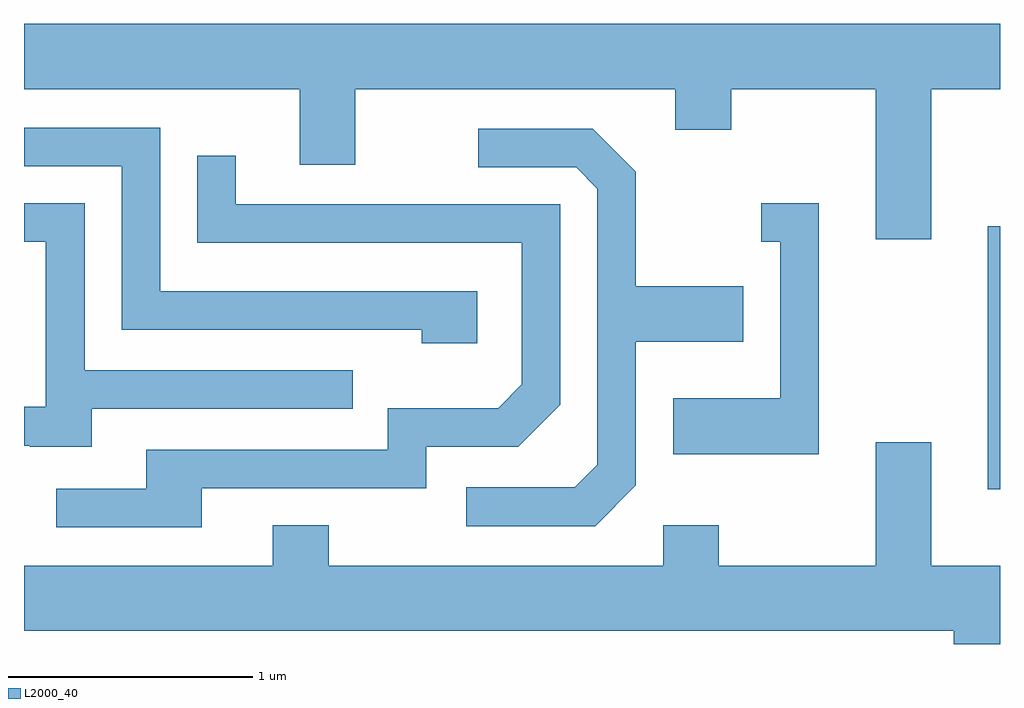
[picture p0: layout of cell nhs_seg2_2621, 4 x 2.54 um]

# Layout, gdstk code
import gdstk
lib = gdstk.Library(unit=1e-6, precision=1e-09)
def R(c, l, rs):  # rectangles x0, y0, x1, y1
    for r in rs: c.add(gdstk.rectangle(r[:2], r[2:], *l))
def P(c, l, *ps):  # polygons
    for p in ps: c.add(gdstk.Polygon(p, *l))
L2000_40 = (2000, 40)

nhs_seg2_2621 = lib.new_cell('nhs_seg2_2621')
R(nhs_seg2_2621, L2000_40, [(265.561,1064.436,265.611,1065.514)])
P(nhs_seg2_2621, L2000_40, [(265.329,1066.076),(265.611,1066.076),(265.611,1066.344),(261.611,1066.344),(261.611,1066.076),(262.741,1066.076),(262.741,1065.766),(262.969,1065.766),(262.969,1066.076),(264.281,1066.076),(264.281,1065.911),(264.509,1065.911),(264.509,1066.076),(265.101,1066.076),(265.101,1065.461),(265.329,1065.461)],
  [(263.469,1065.249),(262.169,1065.249),(262.169,1065.919),(261.611,1065.919),(261.611,1065.761),(262.011,1065.761),(262.011,1065.091),(263.241,1065.091),(263.241,1065.036),(263.469,1065.036)],
  [(264.119,1064.454),(264.119,1065.041),(264.559,1065.041),(264.559,1065.269),(264.119,1065.269),(264.119,1065.737),(263.942,1065.914),(263.473,1065.914),(263.473,1065.756),(263.874,1065.756),(263.961,1065.669),(263.961,1064.537),(263.869,1064.444),(263.423,1064.444),(263.423,1064.286),(263.952,1064.286)],
  [(262.339,1064.441),(263.259,1064.441),(263.259,1064.611),(263.637,1064.611),(263.809,1064.784),(263.809,1065.604),(262.479,1065.604),(262.479,1065.803),(262.321,1065.803),(262.321,1065.446),(263.651,1065.446),(263.651,1064.867),(263.554,1064.769),(263.101,1064.769),(263.101,1064.599),(262.111,1064.599),(262.111,1064.439),(261.743,1064.439),(261.743,1064.281),(262.339,1064.281)],
  [(264.869,1065.609),(264.633,1065.609),(264.633,1065.451),(264.711,1065.451),(264.711,1064.809),(264.271,1064.809),(264.271,1064.581),(264.869,1064.581)],
  [(261.889,1064.766),(262.958,1064.766),(262.958,1064.924),(261.859,1064.924),(261.859,1065.609),(261.611,1065.609),(261.611,1065.451),(261.701,1065.451),(261.701,1064.774),(261.611,1064.774),(261.611,1064.616),(261.635,1064.616),(261.635,1064.611),(261.889,1064.611)],
  [(264.231,1064.289),(264.231,1064.124),(262.859,1064.124),(262.859,1064.289),(262.631,1064.289),(262.631,1064.124),(261.611,1064.124),(261.611,1063.856),(265.421,1063.856),(265.421,1063.802),(265.611,1063.802),(265.611,1064.124),(265.329,1064.124),(265.329,1064.629),(265.101,1064.629),(265.101,1064.124),(264.459,1064.124),(264.459,1064.289)])

lib.write_gds('nhs_seg2_2621.gds')
